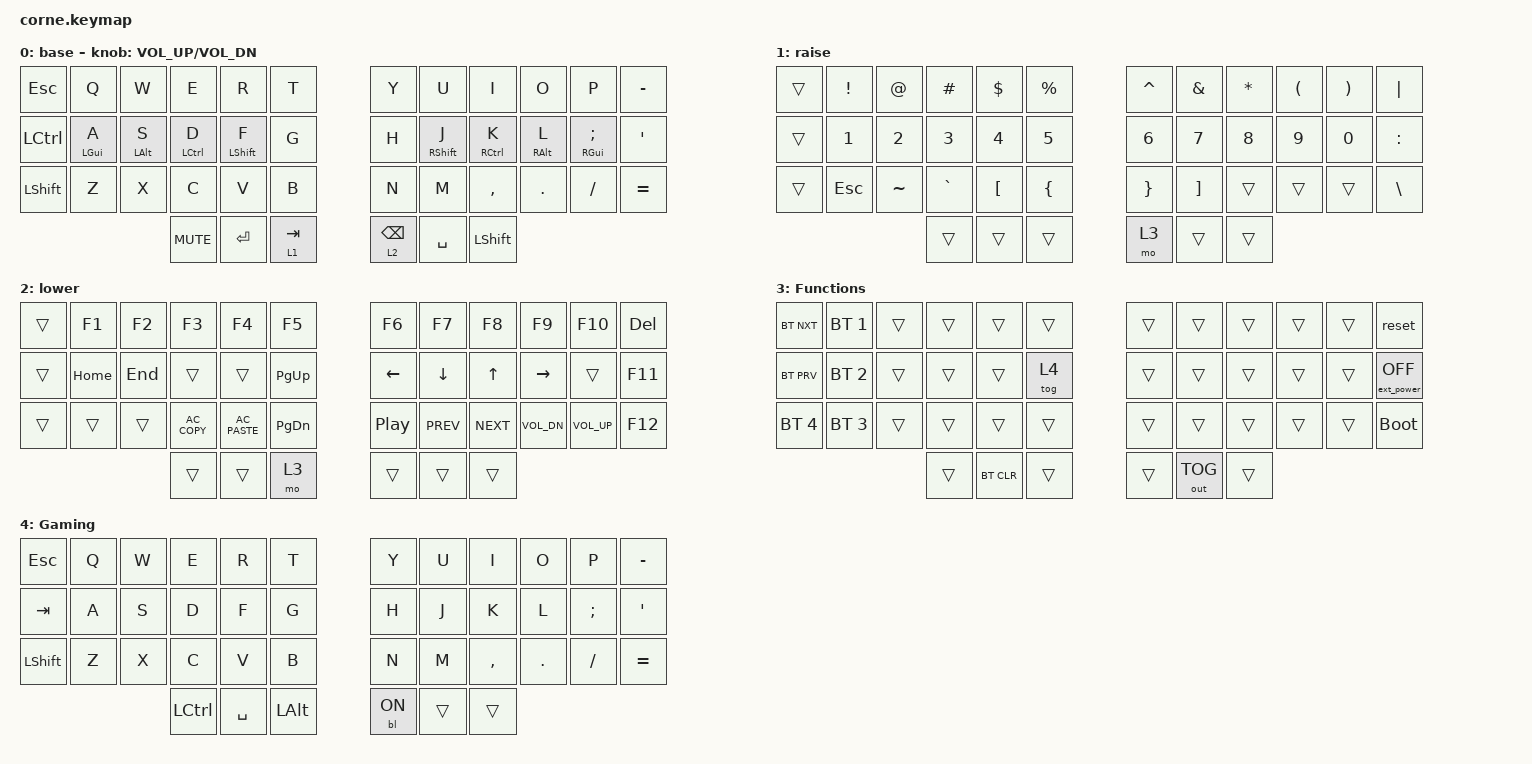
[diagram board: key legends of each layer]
/*
 * Copyright (c) 2020 The ZMK Contributors
 *
 * SPDX-License-Identifier: MIT
 */

#include <behaviors.dtsi>
#include <dt-bindings/zmk/backlight.h>
#include <dt-bindings/zmk/bt.h>
#include <dt-bindings/zmk/ext_power.h>
#include <dt-bindings/zmk/keys.h>
#include <dt-bindings/zmk/outputs.h>

/ {
    behaviors {
        hm: homerow_mods {
            compatible = "zmk,behavior-hold-tap";
            label = "HOMEROW_MODS";
            #binding-cells = <2>;
            tapping-term-ms = <150>;
            quick-tap-ms = <0>;
            flavor = "tap-preferred";
            bindings = <&kp>, <&kp>;
        };
    };

    combos {
        compatible = "zmk,combos";

        Left_Bracket {
            bindings = <&kp LEFT_BRACKET>;
            key-positions = <4 5>;
        };

        Right_Bracket {
            bindings = <&kp RIGHT_BRACKET>;
            key-positions = <6 7>;
        };

        Left_Parethesis {
            bindings = <&kp LEFT_PARENTHESIS>;
            key-positions = <16 17>;
        };

        Right_Parenthesis {
            bindings = <&kp RIGHT_PARENTHESIS>;
            key-positions = <18 19>;
        };

        Left_Brace {
            bindings = <&kp LEFT_BRACE>;
            key-positions = <28 29>;
        };

        Right_Brace {
            bindings = <&kp RIGHT_BRACE>;
            key-positions = <30 31>;
        };

        Back_Slash {
            bindings = <&kp BACKSLASH>;
            key-positions = <4 31>;
        };

        Slash {
            bindings = <&kp SLASH>;
            key-positions = <28 7>;
        };

        Toggle_Gaming_Layer {
            bindings = <&tog 4>;
            key-positions = <0 1>;
        };

        Minus_Underscore {
            bindings = <&kp MINUS>;
            key-positions = <19 20>;
        };

        Equal_Plus {
            bindings = <&kp EQUAL>;
            key-positions = <31 32>;
        };

        Multiply {
            bindings = <&kp ASTRK>;
            key-positions = <20 21>;
        };

        F_one {
            bindings = <&kp F1>;
            key-positions = <1 2>;
        };

        F_two {
            bindings = <&kp F2>;
            key-positions = <1 3>;
        };

        F_three {
            bindings = <&kp F3>;
            key-positions = <1 4>;
        };

        F_four {
            bindings = <&kp F4>;
            key-positions = <1 5>;
        };

        F_five {
            bindings = <&kp F5>;
            key-positions = <2 3>;
        };

        F_six {
            bindings = <&kp F6>;
            key-positions = <2 4>;
        };

        F_seven {
            bindings = <&kp F7>;
            key-positions = <2 5>;
        };

        F_eight {
            bindings = <&kp F8>;
            key-positions = <3 4>;
        };

        F_nine {
            bindings = <&kp F9>;
            key-positions = <3 5>;
        };

        F_ten {
            bindings = <&kp F10>;
            key-positions = <1 2 3>;
        };

        F_eleven {
            bindings = <&kp F11>;
            key-positions = <1 2 4>;
        };

        F_twelve {
            bindings = <&kp F12>;
            key-positions = <1 2 5>;
        };
    };

    keymap {
        compatible = "zmk,keymap";

        base {
            bindings = <
&kp ESC    &kp Q       &kp W       &kp E        &kp R         &kp T        &kp Y            &kp U         &kp I           &kp O       &kp P          &kp MINUS
&kp LCTRL  &hm LGUI A  &hm LALT S  &hm LCTRL D  &hm LSHIFT F  &kp G        &kp H            &hm RSHIFT J  &hm RCTRL K     &hm RALT L  &hm RGUI SEMI  &kp APOS
&kp LSHFT  &kp Z       &kp X       &kp C        &kp V         &kp B        &kp N            &kp M         &kp COMMA       &kp DOT     &kp FSLH       &kp EQUAL
                                   &kp C_MUTE   &kp ENTER     &lt 1 TAB    &lt 2 BACKSPACE  &kp SPACE     &kp LEFT_SHIFT
            >;

            sensor-bindings = <&inc_dec_kp C_VOL_UP C_VOL_DN>;
        };

        raise {
            bindings = <
&trans  &kp EXCLAMATION  &kp AT        &kp HASH      &kp DLLR          &kp PERCENT       &kp CARET        &kp AMPS           &kp ASTRK     &kp LEFT_PARENTHESIS  &kp RIGHT_PARENTHESIS  &kp PIPE
&trans  &kp NUMBER_1     &kp NUMBER_2  &kp NUMBER_3  &kp NUMBER_4      &kp NUMBER_5      &kp NUMBER_6     &kp NUMBER_7       &kp NUMBER_8  &kp NUMBER_9          &kp NUMBER_0           &kp COLON
&trans  &kp ESC          &kp TILDE     &kp GRAVE     &kp LEFT_BRACKET  &kp LEFT_BRACE    &kp RIGHT_BRACE  &kp RIGHT_BRACKET  &trans        &trans                &trans                 &kp BACKSLASH
                                       &trans        &trans            &trans            &mo 3            &trans             &trans
            >;
        };

        lower {
            bindings = <
&trans  &kp F1    &kp F2   &kp F3         &kp F4          &kp F5           &kp F6            &kp F7      &kp F8      &kp F9        &kp F10       &kp DELETE
&trans  &kp HOME  &kp END  &trans         &trans          &kp PAGE_UP      &kp LEFT          &kp DOWN    &kp UP      &kp RIGHT     &trans        &kp F11
&trans  &trans    &trans   &kp C_AC_COPY  &kp C_AC_PASTE  &kp PAGE_DOWN    &kp C_PLAY_PAUSE  &kp C_PREV  &kp C_NEXT  &kp C_VOL_DN  &kp C_VOL_UP  &kp F12
                           &trans         &trans          &mo 3            &trans            &trans      &trans
            >;
        };

        Functions {
            bindings = <
&bt BT_NXT    &bt BT_SEL 1  &trans  &trans  &trans      &trans    &trans  &trans        &trans  &trans  &trans  &reset
&bt BT_PRV    &bt BT_SEL 2  &trans  &trans  &trans      &tog 4    &trans  &trans        &trans  &trans  &trans  &ext_power EP_OFF
&bt BT_SEL 4  &bt BT_SEL 3  &trans  &trans  &trans      &trans    &trans  &trans        &trans  &trans  &trans  &bootloader
                                    &trans  &bt BT_CLR  &trans    &trans  &out OUT_TOG  &trans
            >;
        };

        Gaming {
            bindings = <
&kp ESC         &kp Q  &kp W  &kp E      &kp R      &kp T           &kp Y      &kp U   &kp I      &kp O    &kp P          &kp MINUS
&kp TAB         &kp A  &kp S  &kp D      &kp F      &kp G           &kp H      &kp J   &kp K      &kp L    &kp SEMICOLON  &kp APOS
&kp LEFT_SHIFT  &kp Z  &kp X  &kp C      &kp V      &kp B           &kp N      &kp M   &kp COMMA  &kp DOT  &kp FSLH       &kp EQUAL
                              &kp LCTRL  &kp SPACE  &kp LEFT_ALT    &bl BL_ON  &trans  &trans
            >;
        };
    };
};
